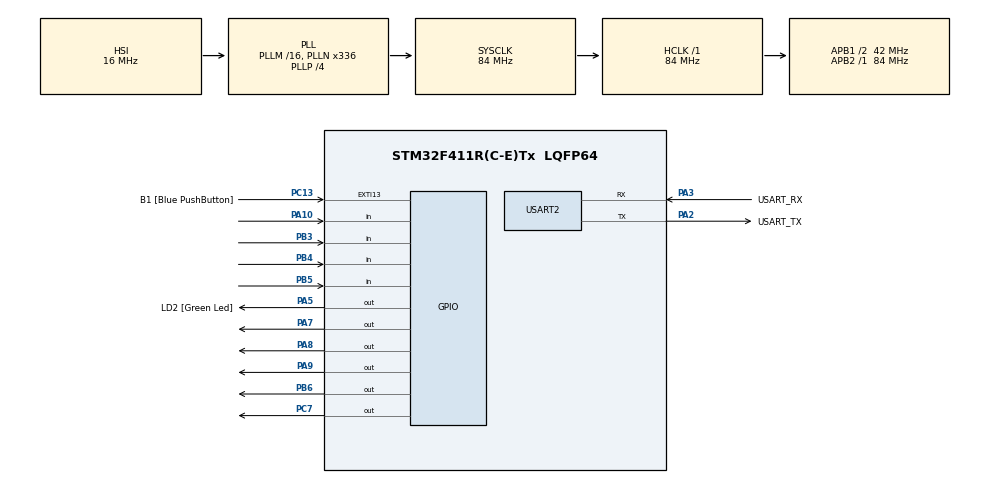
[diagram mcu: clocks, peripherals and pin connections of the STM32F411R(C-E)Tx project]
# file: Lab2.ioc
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Mcu.Family=STM32F4
Mcu.Name=STM32F411R(C-E)Tx
Mcu.Package=LQFP64
NVIC.PriorityGroup=NVIC_PRIORITYGROUP_0
PA10.GPIO_PuPd=GPIO_PULLUP
PA10.Signal=GPIO_Input
PA13.GPIO_Label=TMS
PA13.Mode=Serial_Wire
PA13.Signal=SYS_JTMS-SWDIO
PA14.GPIO_Label=TCK
PA14.Mode=Serial_Wire
PA14.Signal=SYS_JTCK-SWCLK
PA2.GPIO_Label=USART_TX
PA2.Mode=Asynchronous
PA2.Signal=USART2_TX
PA3.GPIO_Label=USART_RX
PA3.Mode=Asynchronous
PA3.Signal=USART2_RX
PA5.GPIO_Label=LD2 [Green Led]
PA5.Signal=GPIO_Output
PA7.PinState=GPIO_PIN_SET
PA7.Signal=GPIO_Output
PA8.Signal=GPIO_Output
PA9.PinState=GPIO_PIN_SET
PA9.Signal=GPIO_Output
PB3.GPIO_PuPd=GPIO_PULLUP
PB3.Signal=GPIO_Input
PB4.GPIO_PuPd=GPIO_PULLUP
PB4.Signal=GPIO_Input
PB5.GPIO_PuPd=GPIO_PULLUP
PB5.Signal=GPIO_Input
PB6.PinState=GPIO_PIN_SET
PB6.Signal=GPIO_Output
PC13-ANTI_TAMP.GPIO_Label=B1 [Blue PushButton]
PC13-ANTI_TAMP.GPIO_ModeDefaultEXTI=GPIO_MODE_IT_FALLING
PC13-ANTI_TAMP.Signal=GPXTI13
PC14-OSC32_IN.Mode=LSE-External-Oscillator
PC14-OSC32_IN.Signal=RCC_OSC32_IN
PC15-OSC32_OUT.Mode=LSE-External-Oscillator
PC15-OSC32_OUT.Signal=RCC_OSC32_OUT
PC7.PinState=GPIO_PIN_SET
PC7.Signal=GPIO_Output
PH0\ -\ OSC_IN.Mode=HSE-External-Clock-Source
PH0\ -\ OSC_IN.Signal=RCC_OSC_IN
PH1\ -\ OSC_OUT.Mode=HSE-External-Clock-Source
PH1\ -\ OSC_OUT.Signal=RCC_OSC_OUT
ProjectManager.HeapSize=0x200
ProjectManager.StackSize=0x400
ProjectManager.TargetToolchain=STM32CubeIDE
RCC.48MHZClocksFreq_Value=84000000
RCC.AHBFreq_Value=84000000
RCC.APB1CLKDivider=RCC_HCLK_DIV2
RCC.APB1Freq_Value=42000000
RCC.APB1TimFreq_Value=84000000
RCC.APB2Freq_Value=84000000
RCC.APB2TimFreq_Value=84000000
RCC.CortexFreq_Value=84000000
RCC.FLatency-AdvancedSettings=FLASH_LATENCY_2
RCC.HCLKFreq_Value=84000000
RCC.HSE_VALUE=8000000
RCC.HSI_VALUE=16000000
RCC.PLLN=336
RCC.PLLP=RCC_PLLP_DIV4
RCC.SYSCLKFreq_VALUE=84000000
RCC.SYSCLKSource=RCC_SYSCLKSOURCE_PLLCLK
RCC.VCOOutputFreq_Value=336000000
USART2.VirtualMode=VM_ASYNC
board=NUCLEO-F411RE

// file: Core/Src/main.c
/* USER CODE BEGIN Header */
/**
 ******************************************************************************
 * @file           : main.c
 * @brief          : Main program body
 ******************************************************************************
 * @attention
 *
 * <h2><center>&copy; Copyright (c) 2021 STMicroelectronics.
 * All rights reserved.</center></h2>
 *
 * This software component is licensed by ST under BSD 3-Clause license,
 * the "License"; You may not use this file except in compliance with the
 * License. You may obtain a copy of the License at:
 *                        opensource.org/licenses/BSD-3-Clause
 *
 ******************************************************************************
 */
/* USER CODE END Header */
#include "main.h"

/* USER CODE BEGIN Includes */
#include <math.h>
/* USER CODE END Includes */

UART_HandleTypeDef huart2;

/* USER CODE BEGIN PV */
uint16_t CodeStore[11] = { 0 };
uint16_t check[11] = {2,4,0,0,0,5,0,4,3,2,6};
uint16_t ButtonMatrixState = 0;
uint32_t TimeStamp = 0;
uint32_t Time = 0;
int j = 0;
int a[2] = { 0 };
int x;
int test = 0;
int address = 0;
_Bool b = 0;
uint16_t map[16] = {7,8,9,10,4,5,6,15,1,2,3,15,0,15,15,11};

/* USER CODE END PV */

void SystemClock_Config(void);
static void MX_GPIO_Init(void);
static void MX_USART2_UART_Init(void);

/* USER CODE BEGIN PFP */
void ButtonMatrix();
/* USER CODE END PFP */

int main(void)
{

  /* MCU Configuration--------------------------------------------------------*/

  /* Reset of all peripherals, Initializes the Flash interface and the Systick. */
  HAL_Init();

  /* Configure the system clock */
  SystemClock_Config();

  /* Initialize all configured peripherals */
  MX_GPIO_Init();
  MX_USART2_UART_Init();

  /* Infinite loop */
  /* USER CODE BEGIN WHILE */
			while (1) {
				ButtonMatrix();
				a[0] = ButtonMatrixState;
				if((a[1] == 0 && a[0] != 0)&&(HAL_GetTick() - Time >= 100)){
					Time = HAL_GetTick();
					b = 0;
					int i;
					address = log2(ButtonMatrixState);
					x = map[address];
					if (map[address] == 15){
						continue;
					}
					else if (map[address] == 10){
						int i;
						for (i=0;i<11;i++){
							CodeStore[i] = 0;
						}
					}
					else if (map[address] == 11){
						int i;
						b = 1;
						for (i=0;i<11;i++){
							if(CodeStore[i] != check[i]){
								b = 0;
							}
						}
						continue;
					}
					else{
						for (i=j;i>=1;i--){
							CodeStore[i] = CodeStore[i-1];
						}
						CodeStore[0] = map[address];
						j += 1;
						if (j> 10){
							j =10;
						}
					}
				}
				if (b == 1){
					HAL_GPIO_WritePin(GPIOA, GPIO_PIN_8, GPIO_PIN_RESET);
				}
				else{
					HAL_GPIO_WritePin(GPIOA, GPIO_PIN_8, GPIO_PIN_SET);
				}
				a[1] = a[0];
    /* USER CODE END WHILE */
			}
}

void SystemClock_Config(void)
{
  RCC_OscInitTypeDef RCC_OscInitStruct = {0};
  RCC_ClkInitTypeDef RCC_ClkInitStruct = {0};

  /** Configure the main internal regulator output voltage
  */
  __HAL_RCC_PWR_CLK_ENABLE();
  __HAL_PWR_VOLTAGESCALING_CONFIG(PWR_REGULATOR_VOLTAGE_SCALE1);
  /** Initializes the RCC Oscillators according to the specified parameters
  * in the RCC_OscInitTypeDef structure.
  */
  RCC_OscInitStruct.OscillatorType = RCC_OSCILLATORTYPE_HSI;
  RCC_OscInitStruct.HSIState = RCC_HSI_ON;
  RCC_OscInitStruct.HSICalibrationValue = RCC_HSICALIBRATION_DEFAULT;
  RCC_OscInitStruct.PLL.PLLState = RCC_PLL_ON;
  RCC_OscInitStruct.PLL.PLLSource = RCC_PLLSOURCE_HSI;
  RCC_OscInitStruct.PLL.PLLM = 16;
  RCC_OscInitStruct.PLL.PLLN = 336;
  RCC_OscInitStruct.PLL.PLLP = RCC_PLLP_DIV4;
  RCC_OscInitStruct.PLL.PLLQ = 4;
  if (HAL_RCC_OscConfig(&RCC_OscInitStruct) != HAL_OK)
  {
    Error_Handler();
  }
  /** Initializes the CPU, AHB and APB buses clocks
  */
  RCC_ClkInitStruct.ClockType = RCC_CLOCKTYPE_HCLK|RCC_CLOCKTYPE_SYSCLK
                              |RCC_CLOCKTYPE_PCLK1|RCC_CLOCKTYPE_PCLK2;
  RCC_ClkInitStruct.SYSCLKSource = RCC_SYSCLKSOURCE_PLLCLK;
  RCC_ClkInitStruct.AHBCLKDivider = RCC_SYSCLK_DIV1;
  RCC_ClkInitStruct.APB1CLKDivider = RCC_HCLK_DIV2;
  RCC_ClkInitStruct.APB2CLKDivider = RCC_HCLK_DIV1;

  if (HAL_RCC_ClockConfig(&RCC_ClkInitStruct, FLASH_LATENCY_2) != HAL_OK)
  {
    Error_Handler();
  }
}

static void MX_USART2_UART_Init(void)
{

  huart2.Instance = USART2;
  huart2.Init.BaudRate = 115200;
  huart2.Init.WordLength = UART_WORDLENGTH_8B;
  huart2.Init.StopBits = UART_STOPBITS_1;
  huart2.Init.Parity = UART_PARITY_NONE;
  huart2.Init.Mode = UART_MODE_TX_RX;
  huart2.Init.HwFlowCtl = UART_HWCONTROL_NONE;
  huart2.Init.OverSampling = UART_OVERSAMPLING_16;
  if (HAL_UART_Init(&huart2) != HAL_OK)
  {
    Error_Handler();
  }

}

static void MX_GPIO_Init(void)
{
  GPIO_InitTypeDef GPIO_InitStruct = {0};

  /* GPIO Ports Clock Enable */
  __HAL_RCC_GPIOC_CLK_ENABLE();
  __HAL_RCC_GPIOH_CLK_ENABLE();
  __HAL_RCC_GPIOA_CLK_ENABLE();
  __HAL_RCC_GPIOB_CLK_ENABLE();

  /*Configure GPIO pin Output Level */
  HAL_GPIO_WritePin(GPIOA, LD2_Pin|GPIO_PIN_8, GPIO_PIN_RESET);

  /*Configure GPIO pin Output Level */
  HAL_GPIO_WritePin(GPIOA, GPIO_PIN_7|GPIO_PIN_9, GPIO_PIN_SET);

  /*Configure GPIO pin Output Level */
  HAL_GPIO_WritePin(GPIOC, GPIO_PIN_7, GPIO_PIN_SET);

  /*Configure GPIO pin Output Level */
  HAL_GPIO_WritePin(GPIOB, GPIO_PIN_6, GPIO_PIN_SET);

  /*Configure GPIO pin : B1_Pin */
  GPIO_InitStruct.Pin = B1_Pin;
  GPIO_InitStruct.Mode = GPIO_MODE_IT_FALLING;
  GPIO_InitStruct.Pull = GPIO_NOPULL;
  HAL_GPIO_Init(B1_GPIO_Port, &GPIO_InitStruct);

  /*Configure GPIO pins : LD2_Pin PA7 PA8 PA9 */
  GPIO_InitStruct.Pin = LD2_Pin|GPIO_PIN_7|GPIO_PIN_8|GPIO_PIN_9;
  GPIO_InitStruct.Mode = GPIO_MODE_OUTPUT_PP;
  GPIO_InitStruct.Pull = GPIO_NOPULL;
  GPIO_InitStruct.Speed = GPIO_SPEED_FREQ_LOW;
  HAL_GPIO_Init(GPIOA, &GPIO_InitStruct);

  /*Configure GPIO pin : PC7 */
  GPIO_InitStruct.Pin = GPIO_PIN_7;
  GPIO_InitStruct.Mode = GPIO_MODE_OUTPUT_PP;
  GPIO_InitStruct.Pull = GPIO_NOPULL;
  GPIO_InitStruct.Speed = GPIO_SPEED_FREQ_LOW;
  HAL_GPIO_Init(GPIOC, &GPIO_InitStruct);

  /*Configure GPIO pin : PA10 */
  GPIO_InitStruct.Pin = GPIO_PIN_10;
  GPIO_InitStruct.Mode = GPIO_MODE_INPUT;
  GPIO_InitStruct.Pull = GPIO_PULLUP;
  HAL_GPIO_Init(GPIOA, &GPIO_InitStruct);

  /*Configure GPIO pins : PB3 PB4 PB5 */
  GPIO_InitStruct.Pin = GPIO_PIN_3|GPIO_PIN_4|GPIO_PIN_5;
  GPIO_InitStruct.Mode = GPIO_MODE_INPUT;
  GPIO_InitStruct.Pull = GPIO_PULLUP;
  HAL_GPIO_Init(GPIOB, &GPIO_InitStruct);

  /*Configure GPIO pin : PB6 */
  GPIO_InitStruct.Pin = GPIO_PIN_6;
  GPIO_InitStruct.Mode = GPIO_MODE_OUTPUT_PP;
  GPIO_InitStruct.Pull = GPIO_NOPULL;
  GPIO_InitStruct.Speed = GPIO_SPEED_FREQ_LOW;
  HAL_GPIO_Init(GPIOB, &GPIO_InitStruct);

}

/* USER CODE BEGIN 4 */
		GPIO_TypeDef *ButtonMatrixPort[8] = { GPIOA, GPIOB, GPIOB, GPIOB, GPIOA,
				GPIOC,
				GPIOB, GPIOA };
		uint16_t ButtonMatrixPin[8] = { GPIO_PIN_10, GPIO_PIN_3, GPIO_PIN_5,
				GPIO_PIN_4,
				GPIO_PIN_9, GPIO_PIN_7, GPIO_PIN_6, GPIO_PIN_7 };
		uint8_t ButtonMatrixRow = 0;

		void ButtonMatrix() {
			if (HAL_GetTick() - TimeStamp >= 100) {
				TimeStamp = HAL_GetTick();
				int i;
				for (i = 0; i < 4; ++i) {
					GPIO_PinState Pinstate = HAL_GPIO_ReadPin(
							ButtonMatrixPort[i], ButtonMatrixPin[i]);
					if (Pinstate == GPIO_PIN_RESET) {
						ButtonMatrixState |= (uint16_t) 1
								<< (i + ButtonMatrixRow * 4);
					} else {
						ButtonMatrixState &= ~((uint16_t) 1
								<< (i + ButtonMatrixRow * 4));
					}
				}
				uint8_t NowOutputPin = ButtonMatrixRow + 4;
				HAL_GPIO_WritePin(ButtonMatrixPort[NowOutputPin],
						ButtonMatrixPin[NowOutputPin], GPIO_PIN_SET);
				ButtonMatrixRow = (ButtonMatrixRow + 1) % 4;

				uint8_t NextOutputPin = ButtonMatrixRow + 4;
				HAL_GPIO_WritePin(ButtonMatrixPort[NextOutputPin],
						ButtonMatrixPin[NextOutputPin], GPIO_PIN_RESET);
			}
		}
/* USER CODE END 4 */

void Error_Handler(void)
{
			__disable_irq();
			while (1) {
			}
}

/************************ (C) COPYRIGHT STMicroelectronics *****END OF FILE****/
